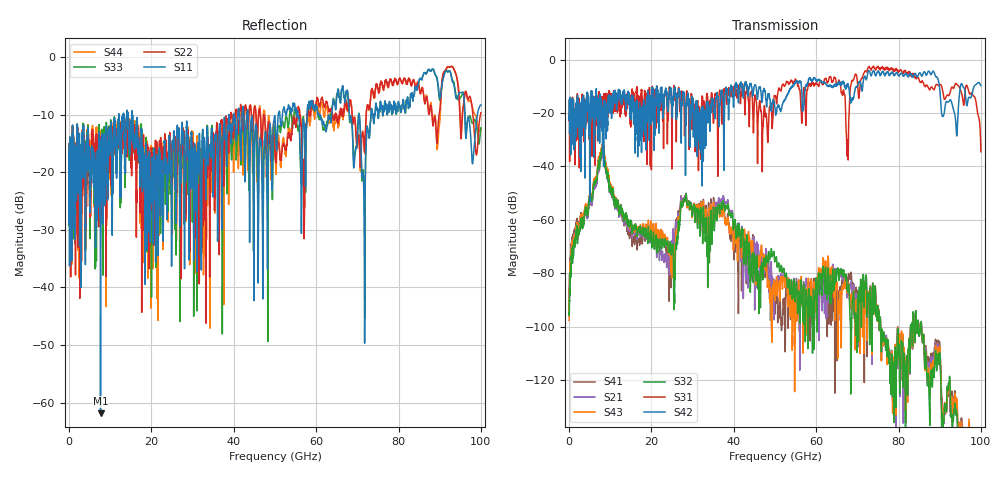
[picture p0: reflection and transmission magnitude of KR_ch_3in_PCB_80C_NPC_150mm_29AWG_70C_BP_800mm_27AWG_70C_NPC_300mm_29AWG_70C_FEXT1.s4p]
# GHz S RI R 45
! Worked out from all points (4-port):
!   4000 points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, 25 MHz to 100 GHz, reference 45 ohm
!   strongest paths, dB at 25 MHz, 25.02 GHz, 50.02 GHz, 75.03 GHz, 100 GHz:
!     S42: -20.7, -17.7, -18.0, -4.4, -9.7
!     S31: -20.6, -19.9, -13.7, -2.5, -34.5
!     S32: -94.9, -70.7, -75.0, -95.0, -155.5
!     S43: -97.7, -77.9, -85.3, -94.9, -149.9
!     S21: -88.8, -68.9, -85.0, -94.8, -156.5
!     S41: -95.3, -76.5, -90.8, -94.9, -152.5
!   lowest |S11| = -61.8 dB at 7.65 GHz (marker M1), VSWR 1.00, Z = 45 - j0.0684 ohm
!   |S11| at or under -10 dB: start of sweep to 12.07 GHz; 15.37 GHz to 38.82 GHz (23.45 GHz wide, 86.6 % of centre); 43.49 GHz to 50.81 GHz (7.32 GHz wide, 15.5 % of centre) (the widest 3 of 31)
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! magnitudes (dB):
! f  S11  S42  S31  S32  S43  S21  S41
! 25 MHz  -16.4  -20.7  -20.6  -94.9  -97.7  -88.8  -95.3
! 7.65 GHz  -61.8  -18.4  -20.7  -36.3  -34.8  -37.3  -35.6
! 24.52 GHz  -16.8  -10.9  -11.7  -69.4  -70.5  -73.5  -76.9
! 28.05 GHz  -36.8  -17.5  -28.5  -53.2  -52.8  -53.2  -52.5
! 67.6 GHz  -5.8  -9.8  -30.2  -86.6  -85.0  -87.4  -82.1
! 78.3 GHz  -9.5  -4.9  -3.0  -111.1  -113.2  -109.7  -111.3
! 100 GHz  -8.4  -9.7  -34.5  -155.5  -149.9  -156.5  -152.5
